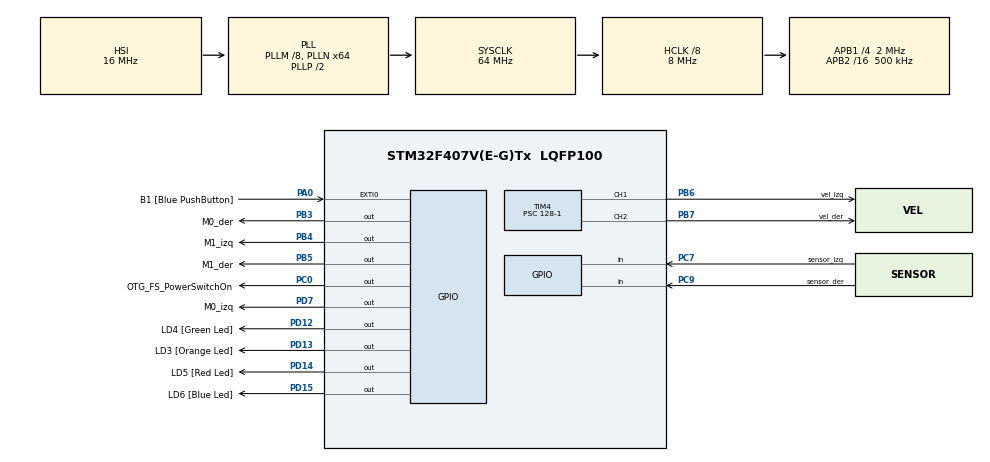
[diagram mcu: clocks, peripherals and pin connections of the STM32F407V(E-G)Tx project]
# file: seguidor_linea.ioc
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Mcu.Family=STM32F4
Mcu.Name=STM32F407V(E-G)Tx
Mcu.Package=LQFP100
NVIC.PriorityGroup=NVIC_PRIORITYGROUP_0
PA0-WKUP.GPIO_Label=B1 [Blue PushButton]
PA0-WKUP.GPIO_ModeDefaultEXTI=GPIO_MODE_EVT_RISING
PA0-WKUP.GPIO_PuPd=GPIO_NOPULL
PA0-WKUP.Signal=GPXTI0
PB3.GPIO_Label=M0_der
PB3.Signal=GPIO_Output
PB4.GPIO_Label=M1_izq
PB4.Signal=GPIO_Output
PB5.GPIO_Label=M1_der
PB5.Signal=GPIO_Output
PB6.GPIO_Label=vel_izq
PB6.Signal=S_TIM4_CH1
PB7.GPIO_Label=vel_der
PB7.Signal=S_TIM4_CH2
PC0.GPIO_Label=OTG_FS_PowerSwitchOn
PC0.GPIO_PuPd=GPIO_NOPULL
PC0.GPIO_Speed=GPIO_SPEED_FREQ_LOW
PC0.PinState=GPIO_PIN_RESET
PC0.Signal=GPIO_Output
PC7.GPIO_Label=sensor_izq
PC7.Signal=GPIO_Input
PC9.GPIO_Label=sensor_der
PC9.Signal=GPIO_Input
PD12.GPIO_Label=LD4 [Green Led]
PD12.GPIO_PuPd=GPIO_NOPULL
PD12.GPIO_Speed=GPIO_SPEED_FREQ_LOW
PD12.Signal=GPIO_Output
PD13.GPIO_Label=LD3 [Orange Led]
PD13.GPIO_PuPd=GPIO_NOPULL
PD13.GPIO_Speed=GPIO_SPEED_FREQ_LOW
PD13.Signal=GPIO_Output
PD14.GPIO_Label=LD5 [Red Led]
PD14.GPIO_PuPd=GPIO_NOPULL
PD14.GPIO_Speed=GPIO_SPEED_FREQ_LOW
PD14.Signal=GPIO_Output
PD15.GPIO_Label=LD6 [Blue Led]
PD15.GPIO_PuPd=GPIO_NOPULL
PD15.GPIO_Speed=GPIO_SPEED_FREQ_LOW
PD15.Signal=GPIO_Output
PD7.GPIO_Label=M0_izq
PD7.Signal=GPIO_Output
ProjectManager.HeapSize=0x200
ProjectManager.StackSize=0x400
ProjectManager.TargetToolchain=STM32CubeIDE
RCC.48MHZClocksFreq_Value=18285714.285714287
RCC.AHBCLKDivider=RCC_SYSCLK_DIV8
RCC.AHBFreq_Value=8000000
RCC.APB1CLKDivider=RCC_HCLK_DIV4
RCC.APB1Freq_Value=2000000
RCC.APB1TimFreq_Value=4000000
RCC.APB2CLKDivider=RCC_HCLK_DIV16
RCC.APB2Freq_Value=500000
RCC.APB2TimFreq_Value=1000000
RCC.CortexFreq_Value=8000000
RCC.HCLKFreq_Value=8000000
RCC.HSE_VALUE=8000000
RCC.HSI_VALUE=16000000
RCC.LSE_VALUE=32768
RCC.PLLM=8
RCC.PLLN=64
RCC.PLLQ=7
RCC.SYSCLKFreq_VALUE=64000000
RCC.SYSCLKSource=RCC_SYSCLKSOURCE_PLLCLK
RCC.VCOOutputFreq_Value=128000000
SH.S_TIM4_CH1.0=TIM4_CH1,PWM Generation1 CH1
SH.S_TIM4_CH2.0=TIM4_CH2,PWM Generation2 CH2
TIM4.AutoReloadPreload=TIM_AUTORELOAD_PRELOAD_ENABLE
TIM4.Channel-PWM\ Generation1\ CH1=TIM_CHANNEL_1
TIM4.Channel-PWM\ Generation2\ CH2=TIM_CHANNEL_2
TIM4.Period=100
TIM4.Prescaler=128-1
VP_TIM4_VS_ClockSourceINT.Mode=Internal
board=STM32F407G-DISC1

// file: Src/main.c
/* USER CODE BEGIN Header */
/**
 ******************************************************************************
 * @file           : main.c
 * @brief          : Main program body
 ******************************************************************************
 * @attention
 *
 * Copyright (c) 2025 STMicroelectronics.
 * All rights reserved.
 *
 * This software is licensed under terms that can be found in the LICENSE file
 * in the root directory of this software component.
 * If no LICENSE file comes with this software, it is provided AS-IS.
 *
 ******************************************************************************
 */
/* USER CODE END Header */
#include "main.h"

/* USER CODE BEGIN Includes */
#include "Statechart.h" // Incluimos el .h principal de la máquina de estados
#include "Statechart_required.h" // Y el de las funciones requeridas (acciones)
/* USER CODE END Includes */

TIM_HandleTypeDef htim4;

/* USER CODE BEGIN PV */
Statechart seguidor;
/* USER CODE END PV */

void SystemClock_Config(void);
static void MX_GPIO_Init(void);
static void MX_TIM4_Init(void);

/* USER CODE BEGIN 0 */
#define VELOCIDAD_AVANCE 60 // Valor de PWM (0 a 65535), ajústalo según necesites
#define VELOCIDAD_GIRO   50 // Velocidad para las curvas
/* USER CODE END 0 */

int main(void)
{

  /* MCU Configuration--------------------------------------------------------*/

  /* Reset of all peripherals, Initializes the Flash interface and the Systick. */
  HAL_Init();

  /* Configure the system clock */
  SystemClock_Config();

  /* Initialize all configured peripherals */
  MX_GPIO_Init();
  MX_TIM4_Init();
  /* USER CODE BEGIN 2 */
	statechart_init(&seguidor);
	statechart_enter(&seguidor);

	// Iniciar PWM para ambos motores
	HAL_TIM_PWM_Start(&htim4, TIM_CHANNEL_1);
	HAL_TIM_PWM_Start(&htim4, TIM_CHANNEL_2);
  /* USER CODE END 2 */

  /* Infinite loop */
	while (1)
	{

    /* USER CODE BEGIN 3 */
		// 1. Leer sensor izquierdo y levantar el evento correspondiente
		if (HAL_GPIO_ReadPin(sensor_izq_GPIO_Port, sensor_izq_Pin) == GPIO_PIN_RESET) // Negro -> 0
		{
			statechart_sensores_raise_sensor_I_0(&seguidor);
			HAL_GPIO_TogglePin(LD6_GPIO_Port, LD6_Pin);//AZUL
		}
		else // Blanco -> 1
		{
			statechart_sensores_raise_sensor_I_1(&seguidor);
			HAL_GPIO_TogglePin(LD5_GPIO_Port, LD5_Pin);//ROJO
		}

		// 2. Leer sensor derecho y levantar el evento correspondiente
		if (HAL_GPIO_ReadPin(sensor_der_GPIO_Port, sensor_der_Pin) == GPIO_PIN_RESET) // Negro -> 0
		{
			statechart_sensores_raise_sensor_D_0(&seguidor);
			HAL_GPIO_TogglePin(LD3_GPIO_Port, LD3_Pin);//NARANJA
		}
		else // Blanco -> 1
		{
			statechart_sensores_raise_sensor_D_1(&seguidor);
			HAL_GPIO_TogglePin(LD4_GPIO_Port, LD4_Pin);//VERDE
		}

		// 3. Ejecutar un ciclo de la máquina de estados para procesar los eventos
		//  statechart_trigger_without_event(&seguidor);

		// 4. Pequeña pausa para estabilizar el sistema
		HAL_Delay(1);
	}
  /* USER CODE END 3 */
}

void SystemClock_Config(void)
{
  RCC_OscInitTypeDef RCC_OscInitStruct = {0};
  RCC_ClkInitTypeDef RCC_ClkInitStruct = {0};

  /** Configure the main internal regulator output voltage
  */
  __HAL_RCC_PWR_CLK_ENABLE();
  __HAL_PWR_VOLTAGESCALING_CONFIG(PWR_REGULATOR_VOLTAGE_SCALE1);

  /** Initializes the RCC Oscillators according to the specified parameters
  * in the RCC_OscInitTypeDef structure.
  */
  RCC_OscInitStruct.OscillatorType = RCC_OSCILLATORTYPE_HSI;
  RCC_OscInitStruct.HSIState = RCC_HSI_ON;
  RCC_OscInitStruct.HSICalibrationValue = RCC_HSICALIBRATION_DEFAULT;
  RCC_OscInitStruct.PLL.PLLState = RCC_PLL_ON;
  RCC_OscInitStruct.PLL.PLLSource = RCC_PLLSOURCE_HSI;
  RCC_OscInitStruct.PLL.PLLM = 8;
  RCC_OscInitStruct.PLL.PLLN = 64;
  RCC_OscInitStruct.PLL.PLLP = RCC_PLLP_DIV2;
  RCC_OscInitStruct.PLL.PLLQ = 7;
  if (HAL_RCC_OscConfig(&RCC_OscInitStruct) != HAL_OK)
  {
    Error_Handler();
  }

  /** Initializes the CPU, AHB and APB buses clocks
  */
  RCC_ClkInitStruct.ClockType = RCC_CLOCKTYPE_HCLK|RCC_CLOCKTYPE_SYSCLK
                              |RCC_CLOCKTYPE_PCLK1|RCC_CLOCKTYPE_PCLK2;
  RCC_ClkInitStruct.SYSCLKSource = RCC_SYSCLKSOURCE_PLLCLK;
  RCC_ClkInitStruct.AHBCLKDivider = RCC_SYSCLK_DIV8;
  RCC_ClkInitStruct.APB1CLKDivider = RCC_HCLK_DIV4;
  RCC_ClkInitStruct.APB2CLKDivider = RCC_HCLK_DIV16;

  if (HAL_RCC_ClockConfig(&RCC_ClkInitStruct, FLASH_LATENCY_0) != HAL_OK)
  {
    Error_Handler();
  }
}

static void MX_TIM4_Init(void)
{

  TIM_ClockConfigTypeDef sClockSourceConfig = {0};
  TIM_MasterConfigTypeDef sMasterConfig = {0};
  TIM_OC_InitTypeDef sConfigOC = {0};

  htim4.Instance = TIM4;
  htim4.Init.Prescaler = 64-1;
  htim4.Init.CounterMode = TIM_COUNTERMODE_UP;
  htim4.Init.Period = 100;
  htim4.Init.ClockDivision = TIM_CLOCKDIVISION_DIV1;
  htim4.Init.AutoReloadPreload = TIM_AUTORELOAD_PRELOAD_ENABLE;
  if (HAL_TIM_Base_Init(&htim4) != HAL_OK)
  {
    Error_Handler();
  }
  sClockSourceConfig.ClockSource = TIM_CLOCKSOURCE_INTERNAL;
  if (HAL_TIM_ConfigClockSource(&htim4, &sClockSourceConfig) != HAL_OK)
  {
    Error_Handler();
  }
  if (HAL_TIM_PWM_Init(&htim4) != HAL_OK)
  {
    Error_Handler();
  }
  sMasterConfig.MasterOutputTrigger = TIM_TRGO_RESET;
  sMasterConfig.MasterSlaveMode = TIM_MASTERSLAVEMODE_DISABLE;
  if (HAL_TIMEx_MasterConfigSynchronization(&htim4, &sMasterConfig) != HAL_OK)
  {
    Error_Handler();
  }
  sConfigOC.OCMode = TIM_OCMODE_PWM1;
  sConfigOC.Pulse = 0;
  sConfigOC.OCPolarity = TIM_OCPOLARITY_HIGH;
  sConfigOC.OCFastMode = TIM_OCFAST_DISABLE;
  if (HAL_TIM_PWM_ConfigChannel(&htim4, &sConfigOC, TIM_CHANNEL_1) != HAL_OK)
  {
    Error_Handler();
  }
  if (HAL_TIM_PWM_ConfigChannel(&htim4, &sConfigOC, TIM_CHANNEL_2) != HAL_OK)
  {
    Error_Handler();
  }
  HAL_TIM_MspPostInit(&htim4);

}

static void MX_GPIO_Init(void)
{
  GPIO_InitTypeDef GPIO_InitStruct = {0};

  /* GPIO Ports Clock Enable */
  __HAL_RCC_GPIOC_CLK_ENABLE();
  __HAL_RCC_GPIOA_CLK_ENABLE();
  __HAL_RCC_GPIOD_CLK_ENABLE();
  __HAL_RCC_GPIOB_CLK_ENABLE();

  /*Configure GPIO pin Output Level */
  HAL_GPIO_WritePin(OTG_FS_PowerSwitchOn_GPIO_Port, OTG_FS_PowerSwitchOn_Pin, GPIO_PIN_RESET);

  /*Configure GPIO pin Output Level */
  HAL_GPIO_WritePin(GPIOD, LD4_Pin|LD3_Pin|LD5_Pin|LD6_Pin
                          |M0_izq_Pin, GPIO_PIN_RESET);

  /*Configure GPIO pin Output Level */
  HAL_GPIO_WritePin(GPIOB, M0_der_Pin|M1_izq_Pin|M1_der_Pin, GPIO_PIN_RESET);

  /*Configure GPIO pin : OTG_FS_PowerSwitchOn_Pin */
  GPIO_InitStruct.Pin = OTG_FS_PowerSwitchOn_Pin;
  GPIO_InitStruct.Mode = GPIO_MODE_OUTPUT_PP;
  GPIO_InitStruct.Pull = GPIO_NOPULL;
  GPIO_InitStruct.Speed = GPIO_SPEED_FREQ_LOW;
  HAL_GPIO_Init(OTG_FS_PowerSwitchOn_GPIO_Port, &GPIO_InitStruct);

  /*Configure GPIO pin : B1_Pin */
  GPIO_InitStruct.Pin = B1_Pin;
  GPIO_InitStruct.Mode = GPIO_MODE_EVT_RISING;
  GPIO_InitStruct.Pull = GPIO_NOPULL;
  HAL_GPIO_Init(B1_GPIO_Port, &GPIO_InitStruct);

  /*Configure GPIO pins : LD4_Pin LD3_Pin LD5_Pin LD6_Pin
                           M0_izq_Pin */
  GPIO_InitStruct.Pin = LD4_Pin|LD3_Pin|LD5_Pin|LD6_Pin
                          |M0_izq_Pin;
  GPIO_InitStruct.Mode = GPIO_MODE_OUTPUT_PP;
  GPIO_InitStruct.Pull = GPIO_NOPULL;
  GPIO_InitStruct.Speed = GPIO_SPEED_FREQ_LOW;
  HAL_GPIO_Init(GPIOD, &GPIO_InitStruct);

  /*Configure GPIO pins : sensor_izq_Pin sensor_der_Pin */
  GPIO_InitStruct.Pin = sensor_izq_Pin|sensor_der_Pin;
  GPIO_InitStruct.Mode = GPIO_MODE_INPUT;
  GPIO_InitStruct.Pull = GPIO_NOPULL;
  HAL_GPIO_Init(GPIOC, &GPIO_InitStruct);

  /*Configure GPIO pins : M0_der_Pin M1_izq_Pin M1_der_Pin */
  GPIO_InitStruct.Pin = M0_der_Pin|M1_izq_Pin|M1_der_Pin;
  GPIO_InitStruct.Mode = GPIO_MODE_OUTPUT_PP;
  GPIO_InitStruct.Pull = GPIO_NOPULL;
  GPIO_InitStruct.Speed = GPIO_SPEED_FREQ_LOW;
  HAL_GPIO_Init(GPIOB, &GPIO_InitStruct);

}

/* USER CODE BEGIN 4 */
// --- ACCIONES DE LA MÁQUINA DE ESTADOS ---

// --- ESTADO AVANZAR ---
void statechart_acciones_avanzar(Statechart* handle) {
	// Motor Izquierdo: Avance (M1=0, M0=1)
	HAL_GPIO_WritePin(M1_izq_GPIO_Port, M1_izq_Pin, GPIO_PIN_RESET);
	HAL_GPIO_WritePin(M0_izq_GPIO_Port, M0_izq_Pin, GPIO_PIN_SET);

	// Motor Derecho: Avance (M1=0, M0=1)
	HAL_GPIO_WritePin(M1_der_GPIO_Port, M1_der_Pin, GPIO_PIN_RESET);
	HAL_GPIO_WritePin(M0_der_GPIO_Port, M0_der_Pin, GPIO_PIN_SET);

	// Establecer velocidad con PWM
	__HAL_TIM_SET_COMPARE(&htim4, TIM_CHANNEL_1, VELOCIDAD_AVANCE);
	__HAL_TIM_SET_COMPARE(&htim4, TIM_CHANNEL_2, VELOCIDAD_AVANCE);
}

// --- ESTADO DOBLAR A LA IZQUIERDA ---
void statechart_acciones_doblar_izq(Statechart* handle) {
	// Motor Izquierdo: Retroceso (M1=1, M0=0)
	HAL_GPIO_WritePin(M1_izq_GPIO_Port, M1_izq_Pin, GPIO_PIN_SET);
	HAL_GPIO_WritePin(M0_izq_GPIO_Port, M0_izq_Pin, GPIO_PIN_RESET);

	// Motor Derecho: Avance (M1=0, M0=1)
	HAL_GPIO_WritePin(M1_der_GPIO_Port, M1_der_Pin, GPIO_PIN_RESET);
	HAL_GPIO_WritePin(M0_der_GPIO_Port, M0_der_Pin, GPIO_PIN_SET);

	// Establecer velocidad de giro
	__HAL_TIM_SET_COMPARE(&htim4, TIM_CHANNEL_1, VELOCIDAD_GIRO);
	__HAL_TIM_SET_COMPARE(&htim4, TIM_CHANNEL_2, VELOCIDAD_GIRO);
}

// --- ESTADO DOBLAR A LA DERECHA ---
void statechart_acciones_doblar_der(Statechart* handle) {
	// Motor Izquierdo: Avance (M1=0, M0=1)
	HAL_GPIO_WritePin(M1_izq_GPIO_Port, M1_izq_Pin, GPIO_PIN_RESET);
	HAL_GPIO_WritePin(M0_izq_GPIO_Port, M0_izq_Pin, GPIO_PIN_SET);

	// Motor Derecho: Retroceso (M1=1, M0=0)
	HAL_GPIO_WritePin(M1_der_GPIO_Port, M1_der_Pin, GPIO_PIN_SET);
	HAL_GPIO_WritePin(M0_der_GPIO_Port, M0_der_Pin, GPIO_PIN_RESET);

	// Establecer velocidad de giro
	__HAL_TIM_SET_COMPARE(&htim4, TIM_CHANNEL_1, VELOCIDAD_GIRO);
	__HAL_TIM_SET_COMPARE(&htim4, TIM_CHANNEL_2, VELOCIDAD_GIRO);
}

// Callback de interrupciones externas (no lo usamos, pero debe existir)
//void HAL_GPIO_EXTI_Callback(uint16_t GPIO_Pin)
//{
// Dejar vacío
//}

/* USER CODE END 4 */

void Error_Handler(void)
{
	__disable_irq();
	while (1)
	{
	}
}
